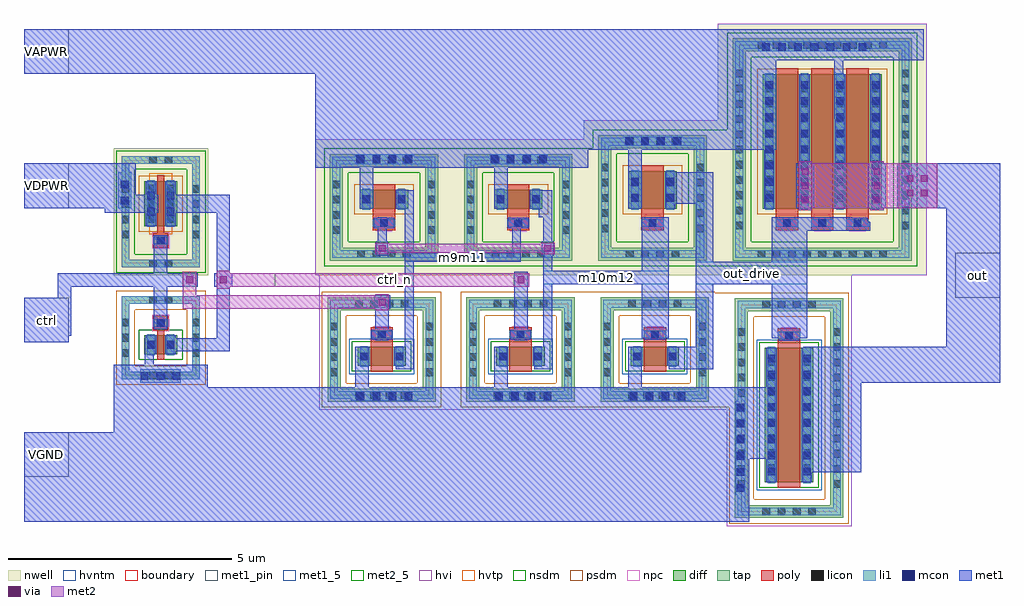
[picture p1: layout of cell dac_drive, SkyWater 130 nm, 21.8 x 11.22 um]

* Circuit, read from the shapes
.subckt dac_drive VAPWR VDPWR VGND ctrl ctrl_n m10m12 m9m11 out out_drive
XM1 ctrl_n ctrl VGND VGND sky130_fd_pr__nfet_01v8 w=0.42 l=0.15
XM2 m9m11 ctrl VGND VGND sky130_fd_pr__nfet_g5v0d10v5 w=0.42 l=0.5
XM3 m10m12 ctrl_n VGND VGND sky130_fd_pr__nfet_g5v0d10v5 w=0.42 l=0.5
XM4 out_drive m10m12 VGND VGND sky130_fd_pr__nfet_g5v0d10v5 w=0.42 l=0.5
XM5 out out_drive VGND VGND sky130_fd_pr__nfet_g5v0d10v5 w=3 l=0.5
XM6 ctrl_n ctrl VDPWR VDPWR sky130_fd_pr__pfet_01v8_hvt w=1 l=0.15
XM7 m9m11 m10m12 VAPWR VAPWR sky130_fd_pr__pfet_g5v0d10v5 w=0.42 l=0.5
XM8 m10m12 m9m11 VAPWR VAPWR sky130_fd_pr__pfet_g5v0d10v5 w=0.42 l=0.5
XM9 out_drive m10m12 VAPWR VAPWR sky130_fd_pr__pfet_g5v0d10v5 w=0.84 l=0.5
XM10 out out_drive VAPWR VAPWR sky130_fd_pr__pfet_g5v0d10v5 w=3 l=0.5 m=3
.ends

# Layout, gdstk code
from math import pi, radians
import gdstk
lib = gdstk.Library(unit=1e-6, precision=1e-09)
def R(c, l, rs):  # rectangles x0, y0, x1, y1
    for r in rs: c.add(gdstk.rectangle(r[:2], r[2:], *l))
def A(c, l, x, y, w, h, nx, ny, dx, dy):  # array of equal rectangles
    R(c, l, [(x+i*dx, y+j*dy, x+i*dx+w, y+j*dy+h) for i in range(nx) for j in range(ny)])
nwell = (64, 20)
diff = (65, 20)
tap = (65, 44)
poly = (66, 20)
licon = (66, 44)
li1 = (67, 20)
mcon = (67, 44)
met1_5 = (68, 5)
met1_pin = (68, 16)
met1 = (68, 20)
via = (68, 44)
met2_5 = (69, 5)
met2 = (69, 20)
hvi = (75, 20)
hvtp = (78, 44)
nsdm = (93, 44)
psdm = (94, 20)
npc = (95, 20)
hvntm = (125, 20)
boundary = (235, 4)

sky130_fd_pr__pfet_g5v0d = lib.new_cell('sky130_fd_pr__pfet_g5v0d10v5_ZHZHT3')
R(sky130_fd_pr__pfet_g5v0d, nwell, [(-1.54,-1.52,1.54,1.52)])
R(sky130_fd_pr__pfet_g5v0d, diff, [(-0.54,-0.39,0.54,0.03)])
R(sky130_fd_pr__pfet_g5v0d, tap, [(-1.21,-1.19,1.21,-0.9), (-1.21,-0.9,-0.92,0.9), (0.92,-0.9,1.21,0.9), (-1.21,0.9,1.21,1.19)])
R(sky130_fd_pr__pfet_g5v0d, poly, [(-0.25,-0.52,0.25,0.515)])
A(sky130_fd_pr__pfet_g5v0d, licon, -0.595, -1.13, 0.17, 0.17, 4, 2, 0.34, 2.09)
A(sky130_fd_pr__pfet_g5v0d, licon, -1.15, -0.595, 0.17, 0.17, 1, 4, 0, 0.34)
A(sky130_fd_pr__pfet_g5v0d, licon, 0.98, -0.595, 0.17, 0.17, 1, 4, 0, 0.34)
R(sky130_fd_pr__pfet_g5v0d, licon, [(-0.48,-0.265,-0.31,-0.095), (0.31,-0.265,0.48,-0.095), (-0.085,0.265,0.085,0.435)])
R(sky130_fd_pr__pfet_g5v0d, li1, [(-1.15,-1.13,1.15,-0.96), (-1.15,-0.96,-0.98,0.96), (0.98,-0.96,1.15,0.96), (-0.48,-0.41,-0.31,0.05), (0.31,-0.41,0.48,0.05), (-0.25,0.265,0.25,0.435), (-1.15,0.96,1.15,1.13)])
R(sky130_fd_pr__pfet_g5v0d, mcon, [(-0.48,-0.265,-0.31,-0.095), (0.31,-0.265,0.48,-0.095), (-0.085,0.265,0.085,0.435)])
R(sky130_fd_pr__pfet_g5v0d, met1, [(-0.51,-0.39,-0.28,0.03), (0.28,-0.39,0.51,0.03), (-0.23,0.235,0.23,0.465)])
R(sky130_fd_pr__pfet_g5v0d, hvi, [(-1.54,-1.52,1.54,1.52)])
R(sky130_fd_pr__pfet_g5v0d, nsdm, [(-1.335,-1.315,1.335,-0.775), (-1.335,-0.775,-0.795,0.775), (0.795,-0.775,1.335,0.775), (-1.335,0.775,1.335,1.315)])
R(sky130_fd_pr__pfet_g5v0d, psdm, [(-0.665,-0.515,0.665,0.155)])
R(sky130_fd_pr__pfet_g5v0d, npc, [(-0.185,0.165,0.185,0.535)])
R(sky130_fd_pr__pfet_g5v0d, boundary, [(-1.065,-1.045,1.065,1.045)])

sky130_fd_pr__nfet_g5v0d = lib.new_cell('sky130_fd_pr__nfet_g5v0d10v5_ZFATWT')
R(sky130_fd_pr__nfet_g5v0d, diff, [(-0.54,-0.365,0.54,0.055)])
R(sky130_fd_pr__nfet_g5v0d, tap, [(-1.21,-1.165,1.21,-0.875), (-1.21,-0.875,-0.92,0.875), (0.92,-0.875,1.21,0.875), (-1.21,0.875,1.21,1.165)])
R(sky130_fd_pr__nfet_g5v0d, poly, [(-0.25,-0.495,0.25,0.495)])
A(sky130_fd_pr__nfet_g5v0d, licon, -0.595, -1.105, 0.17, 0.17, 4, 2, 0.34, 2.04)
A(sky130_fd_pr__nfet_g5v0d, licon, -1.15, -0.595, 0.17, 0.17, 1, 4, 0, 0.34)
A(sky130_fd_pr__nfet_g5v0d, licon, 0.98, -0.595, 0.17, 0.17, 1, 4, 0, 0.34)
R(sky130_fd_pr__nfet_g5v0d, licon, [(-0.48,-0.24,-0.31,-0.07), (0.31,-0.24,0.48,-0.07), (-0.085,0.245,0.085,0.415)])
R(sky130_fd_pr__nfet_g5v0d, li1, [(-1.15,-1.105,1.15,-0.935), (-1.15,-0.935,-0.98,0.935), (0.98,-0.935,1.15,0.935), (-0.48,-0.385,-0.31,0.075), (0.31,-0.385,0.48,0.075), (-0.25,0.245,0.25,0.415), (-1.15,0.935,1.15,1.105)])
R(sky130_fd_pr__nfet_g5v0d, mcon, [(-0.48,-0.24,-0.31,-0.07), (0.31,-0.24,0.48,-0.07), (-0.085,0.245,0.085,0.415)])
R(sky130_fd_pr__nfet_g5v0d, met1, [(-0.51,-0.365,-0.28,0.055), (0.28,-0.365,0.51,0.055), (-0.23,0.215,0.23,0.445)])
R(sky130_fd_pr__nfet_g5v0d, hvi, [(-1.395,-1.35,1.395,1.35)])
R(sky130_fd_pr__nfet_g5v0d, nsdm, [(-0.665,-0.49,0.665,0.18)])
R(sky130_fd_pr__nfet_g5v0d, psdm, [(-1.335,-1.29,1.335,-0.75), (-1.335,-0.75,-0.795,0.75), (0.795,-0.75,1.335,0.75), (-1.335,0.75,1.335,1.29)])
R(sky130_fd_pr__nfet_g5v0d, npc, [(-0.185,0.145,0.185,0.515)])
R(sky130_fd_pr__nfet_g5v0d, hvntm, [(-0.725,-0.55,0.725,0.24)])
R(sky130_fd_pr__nfet_g5v0d, boundary, [(-1.065,-1.02,1.065,1.02)])

sky130_fd_pr__pfet_01v8_ = lib.new_cell('sky130_fd_pr__pfet_01v8_hvt_MGS3BN')
R(sky130_fd_pr__pfet_01v8_, nwell, [(-1.055,-1.42,1.055,1.42)])
R(sky130_fd_pr__pfet_01v8_, diff, [(-0.365,-0.68,0.365,0.32)])
R(sky130_fd_pr__pfet_01v8_, tap, [(-0.875,-1.24,0.875,-1.07), (-0.875,-1.07,-0.705,1.07), (0.705,-1.07,0.875,1.07), (-0.875,1.07,0.875,1.24)])
R(sky130_fd_pr__pfet_01v8_, poly, [(-0.075,-0.81,0.075,0.475), (-0.165,0.475,0.165,0.805)])
A(sky130_fd_pr__pfet_01v8_, licon, -0.305, -0.605, 0.17, 0.17, 1, 3, 0, 0.34)
A(sky130_fd_pr__pfet_01v8_, licon, 0.135, -0.605, 0.17, 0.17, 1, 3, 0, 0.34)
A(sky130_fd_pr__pfet_01v8_, licon, -0.875, -0.595, 0.17, 0.17, 1, 4, 0, 0.34)
A(sky130_fd_pr__pfet_01v8_, licon, 0.705, -0.595, 0.17, 0.17, 1, 4, 0, 0.34)
R(sky130_fd_pr__pfet_01v8_, licon, [(-0.255,-1.24,-0.085,-1.07), (0.085,-1.24,0.255,-1.07), (-0.085,0.555,0.085,0.725), (-0.255,1.07,-0.085,1.24), (0.085,1.07,0.255,1.24)])
R(sky130_fd_pr__pfet_01v8_, li1, [(-0.875,-1.24,0.875,-1.07), (-0.875,-1.07,-0.705,1.07), (0.705,-1.07,0.875,1.07), (-0.305,-0.7,-0.135,0.34), (0.135,-0.7,0.305,0.34), (-0.165,0.555,0.165,0.725), (-0.875,1.07,0.875,1.24)])
R(sky130_fd_pr__pfet_01v8_, mcon, [(-0.305,-0.445,-0.135,-0.275), (0.135,-0.445,0.305,-0.275), (-0.305,-0.085,-0.135,0.085), (0.135,-0.085,0.305,0.085), (-0.085,0.555,0.085,0.725)])
R(sky130_fd_pr__pfet_01v8_, met1, [(-0.335,-0.68,-0.105,0.32), (0.105,-0.68,0.335,0.32), (-0.145,0.525,0.145,0.755)])
R(sky130_fd_pr__pfet_01v8_, hvtp, [(-0.255,-0.86,0.255,0.5)])
R(sky130_fd_pr__pfet_01v8_, nsdm, [(-1,-1.365,1,-0.945), (-1,-0.945,-0.58,0.945), (0.58,-0.945,1,0.945), (-1,0.945,1,1.365)])
R(sky130_fd_pr__pfet_01v8_, psdm, [(-0.49,-0.805,0.49,0.445)])
R(sky130_fd_pr__pfet_01v8_, npc, [(-0.185,0.455,0.185,0.825)])
R(sky130_fd_pr__pfet_01v8_, boundary, [(-0.79,-1.155,0.79,1.155)])

sky130_fd_pr__nfet_01v8_ = lib.new_cell('sky130_fd_pr__nfet_01v8_L78EGD')
R(sky130_fd_pr__nfet_01v8_, diff, [(-0.365,-0.365,0.365,0.055)])
R(sky130_fd_pr__nfet_01v8_, tap, [(-0.875,-0.925,0.875,-0.755), (-0.875,-0.755,-0.705,0.755), (0.705,-0.755,0.875,0.755), (-0.875,0.755,0.875,0.925)])
R(sky130_fd_pr__nfet_01v8_, poly, [(-0.075,-0.495,0.075,0.165), (-0.165,0.165,0.165,0.495)])
A(sky130_fd_pr__nfet_01v8_, licon, -0.875, -0.425, 0.17, 0.17, 1, 3, 0, 0.34)
A(sky130_fd_pr__nfet_01v8_, licon, 0.705, -0.425, 0.17, 0.17, 1, 3, 0, 0.34)
R(sky130_fd_pr__nfet_01v8_, licon, [(-0.255,-0.925,-0.085,-0.755), (0.085,-0.925,0.255,-0.755), (-0.305,-0.24,-0.135,-0.07), (0.135,-0.24,0.305,-0.07), (-0.085,0.245,0.085,0.415), (-0.255,0.755,-0.085,0.925), (0.085,0.755,0.255,0.925)])
R(sky130_fd_pr__nfet_01v8_, li1, [(-0.875,-0.925,0.875,-0.755), (-0.875,-0.755,-0.705,0.755), (0.705,-0.755,0.875,0.755), (-0.305,-0.385,-0.135,0.075), (0.135,-0.385,0.305,0.075), (-0.165,0.245,0.165,0.415), (-0.875,0.755,0.875,0.925)])
R(sky130_fd_pr__nfet_01v8_, mcon, [(-0.305,-0.24,-0.135,-0.07), (0.135,-0.24,0.305,-0.07), (-0.085,0.245,0.085,0.415)])
R(sky130_fd_pr__nfet_01v8_, met1, [(-0.335,-0.365,-0.105,0.055), (0.105,-0.365,0.335,0.055), (-0.145,0.215,0.145,0.445)])
R(sky130_fd_pr__nfet_01v8_, nsdm, [(-0.49,-0.49,0.49,0.18)])
R(sky130_fd_pr__nfet_01v8_, psdm, [(-1,-1.05,1,-0.63), (-1,-0.63,-0.58,0.63), (0.58,-0.63,1,0.63), (-1,0.63,1,1.05)])
R(sky130_fd_pr__nfet_01v8_, npc, [(-0.185,0.145,0.185,0.515)])
R(sky130_fd_pr__nfet_01v8_, boundary, [(-0.79,-0.84,0.79,0.84)])

c_sky130_fd_pr__nfet_g5v0d = lib.new_cell('sky130_fd_pr__nfet_g5v0d10v5_42U4UV')
R(c_sky130_fd_pr__nfet_g5v0d, diff, [(-0.54,-1.655,0.54,1.345)])
R(c_sky130_fd_pr__nfet_g5v0d, tap, [(-1.21,-2.455,1.21,-2.165), (-1.21,-2.165,-0.92,2.165), (0.92,-2.165,1.21,2.165), (-1.21,2.165,1.21,2.455)])
R(c_sky130_fd_pr__nfet_g5v0d, poly, [(-0.25,-1.785,0.25,1.785)])
A(c_sky130_fd_pr__nfet_g5v0d, licon, -0.595, -2.395, 0.17, 0.17, 4, 2, 0.34, 4.62)
A(c_sky130_fd_pr__nfet_g5v0d, licon, -1.15, -1.785, 0.17, 0.17, 1, 11, 0, 0.34)
A(c_sky130_fd_pr__nfet_g5v0d, licon, 0.98, -1.785, 0.17, 0.17, 1, 11, 0, 0.34)
A(c_sky130_fd_pr__nfet_g5v0d, licon, -0.48, -1.43, 0.17, 0.17, 1, 8, 0, 0.34)
A(c_sky130_fd_pr__nfet_g5v0d, licon, 0.31, -1.43, 0.17, 0.17, 1, 8, 0, 0.34)
R(c_sky130_fd_pr__nfet_g5v0d, licon, [(-0.085,1.535,0.085,1.705)])
R(c_sky130_fd_pr__nfet_g5v0d, li1, [(-1.15,-2.395,1.15,-2.225), (-1.15,-2.225,-0.98,2.225), (0.98,-2.225,1.15,2.225), (-0.48,-1.675,-0.31,1.365), (0.31,-1.675,0.48,1.365), (-0.25,1.535,0.25,1.705), (-1.15,2.225,1.15,2.395)])
A(c_sky130_fd_pr__nfet_g5v0d, mcon, -0.48, -1.5, 0.17, 0.17, 1, 8, 0, 0.36)
A(c_sky130_fd_pr__nfet_g5v0d, mcon, 0.31, -1.5, 0.17, 0.17, 1, 8, 0, 0.36)
R(c_sky130_fd_pr__nfet_g5v0d, mcon, [(-0.085,1.535,0.085,1.705)])
R(c_sky130_fd_pr__nfet_g5v0d, met1, [(-0.51,-1.655,-0.28,1.345), (0.28,-1.655,0.51,1.345), (-0.23,1.505,0.23,1.735)])
R(c_sky130_fd_pr__nfet_g5v0d, hvi, [(-1.395,-2.64,1.395,2.64)])
R(c_sky130_fd_pr__nfet_g5v0d, nsdm, [(-0.665,-1.78,0.665,1.47)])
R(c_sky130_fd_pr__nfet_g5v0d, psdm, [(-1.335,-2.58,1.335,-2.04), (-1.335,-2.04,-0.795,2.04), (0.795,-2.04,1.335,2.04), (-1.335,2.04,1.335,2.58)])
R(c_sky130_fd_pr__nfet_g5v0d, npc, [(-0.185,1.435,0.185,1.805)])
R(c_sky130_fd_pr__nfet_g5v0d, hvntm, [(-0.725,-1.84,0.725,1.53)])
R(c_sky130_fd_pr__nfet_g5v0d, boundary, [(-1.065,-2.31,1.065,2.31)])

c_sky130_fd_pr__pfet_g5v0d = lib.new_cell('sky130_fd_pr__pfet_g5v0d10v5_RW5GT3')
R(c_sky130_fd_pr__pfet_g5v0d, nwell, [(-1.54,-1.73,1.54,1.73)])
R(c_sky130_fd_pr__pfet_g5v0d, diff, [(-0.54,-0.6,0.54,0.24)])
R(c_sky130_fd_pr__pfet_g5v0d, tap, [(-1.21,-1.4,1.21,-1.11), (-1.21,-1.11,-0.92,1.11), (0.92,-1.11,1.21,1.11), (-1.21,1.11,1.21,1.4)])
R(c_sky130_fd_pr__pfet_g5v0d, poly, [(-0.25,-0.73,0.25,0.725)])
A(c_sky130_fd_pr__pfet_g5v0d, licon, -0.595, -1.34, 0.17, 0.17, 4, 2, 0.34, 2.51)
A(c_sky130_fd_pr__pfet_g5v0d, licon, -1.15, -0.765, 0.17, 0.17, 1, 5, 0, 0.34)
A(c_sky130_fd_pr__pfet_g5v0d, licon, 0.98, -0.765, 0.17, 0.17, 1, 5, 0, 0.34)
R(c_sky130_fd_pr__pfet_g5v0d, licon, [(-0.48,-0.435,-0.31,-0.265), (0.31,-0.435,0.48,-0.265), (-0.48,-0.095,-0.31,0.075), (0.31,-0.095,0.48,0.075), (-0.085,0.475,0.085,0.645)])
R(c_sky130_fd_pr__pfet_g5v0d, li1, [(-1.15,-1.34,1.15,-1.17), (-1.15,-1.17,-0.98,1.17), (0.98,-1.17,1.15,1.17), (-0.48,-0.62,-0.31,0.26), (0.31,-0.62,0.48,0.26), (-0.25,0.475,0.25,0.645), (-1.15,1.17,1.15,1.34)])
R(c_sky130_fd_pr__pfet_g5v0d, mcon, [(-0.48,-0.445,-0.31,-0.275), (0.31,-0.445,0.48,-0.275), (-0.48,-0.085,-0.31,0.085), (0.31,-0.085,0.48,0.085), (-0.085,0.475,0.085,0.645)])
R(c_sky130_fd_pr__pfet_g5v0d, met1, [(-0.51,-0.6,-0.28,0.24), (0.28,-0.6,0.51,0.24), (-0.23,0.445,0.23,0.675)])
R(c_sky130_fd_pr__pfet_g5v0d, hvi, [(-1.54,-1.73,1.54,1.73)])
R(c_sky130_fd_pr__pfet_g5v0d, nsdm, [(-1.335,-1.525,1.335,-0.985), (-1.335,-0.985,-0.795,0.985), (0.795,-0.985,1.335,0.985), (-1.335,0.985,1.335,1.525)])
R(c_sky130_fd_pr__pfet_g5v0d, psdm, [(-0.665,-0.725,0.665,0.365)])
R(c_sky130_fd_pr__pfet_g5v0d, npc, [(-0.185,0.375,0.185,0.745)])
R(c_sky130_fd_pr__pfet_g5v0d, boundary, [(-1.065,-1.255,1.065,1.255)])

c_sky130_fd_pr__pfet_g5v0d_ = lib.new_cell('sky130_fd_pr__pfet_g5v0d10v5_77L6Y8')
R(c_sky130_fd_pr__pfet_g5v0d_, nwell, [(-2.33,-2.81,2.33,2.81)])
R(c_sky130_fd_pr__pfet_g5v0d_, diff, [(-1.33,-1.68,1.33,1.32)])
R(c_sky130_fd_pr__pfet_g5v0d_, tap, [(-2,-2.48,2,-2.19), (-2,-2.19,-1.71,2.19), (1.71,-2.19,2,2.19), (-2,2.19,2,2.48)])
A(c_sky130_fd_pr__pfet_g5v0d_, poly, -1.04, -1.81, 0.5, 3.615, 3, 1, 0.79, 0)
A(c_sky130_fd_pr__pfet_g5v0d_, licon, -1.445, -2.42, 0.17, 0.17, 9, 2, 0.34, 4.67)
A(c_sky130_fd_pr__pfet_g5v0d_, licon, -1.94, -1.785, 0.17, 0.17, 1, 11, 0, 0.34)
A(c_sky130_fd_pr__pfet_g5v0d_, licon, 1.77, -1.785, 0.17, 0.17, 1, 11, 0, 0.34)
A(c_sky130_fd_pr__pfet_g5v0d_, licon, -1.27, -1.455, 0.17, 0.17, 4, 8, 0.79, 0.34)
A(c_sky130_fd_pr__pfet_g5v0d_, licon, -0.875, 1.555, 0.17, 0.17, 3, 1, 0.79, 0)
A(c_sky130_fd_pr__pfet_g5v0d_, li1, -1.27, -1.7, 0.17, 3.04, 4, 1, 0.79, 0)
A(c_sky130_fd_pr__pfet_g5v0d_, li1, -1.04, 1.555, 0.5, 0.17, 3, 1, 0.79, 0)
R(c_sky130_fd_pr__pfet_g5v0d_, li1, [(-1.94,-2.42,1.94,-2.25), (-1.94,-2.25,-1.77,2.25), (1.77,-2.25,1.94,2.25), (-1.94,2.25,1.94,2.42)])
A(c_sky130_fd_pr__pfet_g5v0d_, mcon, -1.27, -1.525, 0.17, 0.17, 4, 8, 0.79, 0.36)
A(c_sky130_fd_pr__pfet_g5v0d_, mcon, -0.875, 1.555, 0.17, 0.17, 3, 1, 0.79, 0)
A(c_sky130_fd_pr__pfet_g5v0d_, met1, -1.3, -1.68, 0.23, 3, 4, 1, 0.79, 0)
A(c_sky130_fd_pr__pfet_g5v0d_, met1, -1.02, 1.525, 0.46, 0.23, 3, 1, 0.79, 0)
R(c_sky130_fd_pr__pfet_g5v0d_, hvi, [(-2.33,-2.81,2.33,2.81)])
R(c_sky130_fd_pr__pfet_g5v0d_, nsdm, [(-2.125,-2.605,2.125,-2.065), (-2.125,-2.065,-1.585,2.065), (1.585,-2.065,2.125,2.065), (-2.125,2.065,2.125,2.605)])
R(c_sky130_fd_pr__pfet_g5v0d_, psdm, [(-1.455,-1.805,1.455,1.445)])
A(c_sky130_fd_pr__pfet_g5v0d_, npc, -0.975, 1.455, 0.37, 0.37, 3, 1, 0.79, 0)
R(c_sky130_fd_pr__pfet_g5v0d_, boundary, [(-1.855,-2.335,1.855,2.335)])

dac_drive = lib.new_cell('dac_drive')
R(dac_drive, li1, [(0.9,-3.9,1.1,-1.8), (-7.7,-1.8,-6.2,-1.6), (-4.6,-1.8,-3.1,-1.6), (-1.6,-1.8,-0.1,-1.6), (-12.4,-1.4,-11.5,-1.1), (-12.9,2.5,-12.6,3.3), (-7.6,3.5,-6.3,3.7), (-4.6,3.5,-3.3,3.7), (-1.6,3.9,-0.3,4.1), (1.4,6,3.9,6.2)])
A(dac_drive, mcon, 0.915, -3.835, 0.17, 0.17, 1, 6, 0, 0.36)
A(dac_drive, mcon, -7.575, -1.785, 0.17, 0.17, 4, 2, 0.36, 5.3)
A(dac_drive, mcon, -4.475, -1.785, 0.17, 0.17, 4, 1, 0.36, 0)
A(dac_drive, mcon, -1.475, -1.785, 0.17, 0.17, 4, 1, 0.36, 0)
A(dac_drive, mcon, -12.395, -1.335, 0.17, 0.17, 3, 1, 0.36, 0)
A(dac_drive, mcon, -4.575, 3.515, 0.17, 0.17, 4, 1, 0.36, 0)
A(dac_drive, mcon, -1.575, 3.915, 0.17, 0.17, 4, 1, 0.36, 0)
A(dac_drive, mcon, 1.485, 6.015, 0.17, 0.17, 7, 1, 0.36, 0)
R(dac_drive, mcon, [(-12.835,2.585,-12.665,2.755), (-12.835,2.945,-12.665,3.115)])
R(dac_drive, met1_5, [(-3.4,0.8,-0.6,1.1), (0,0.8,2.5,1.3), (-6.5,1.3,-3.9,1.5)])
A(dac_drive, met1_pin, -15, -3.5, 1, 1, 1, 4, 0, 3)
R(dac_drive, met1_pin, [(5.8,0.5,6.8,1.5)])
R(dac_drive, met1, [(-15,-4.5,1.2,-3.1), (2.4,-3.4,3.7,-1.4), (-15,-3.1,1.8,-2.5), (-13,-2.5,1.8,-1.5), (-13,-1.5,-10.9,-1), (-7.6,-1.5,-7.3,-0.6), (-4.5,-1.5,-4.2,-0.6), (-1.5,-1.5,-1.2,-0.6), (2.4,-1.4,6.8,-0.6), (-6.7,-1.1,-6.3,-0.6), (-3.6,-1.1,-3.2,-0.6), (-0.6,-1.1,0.4,-0.6), (-12.3,-1,-12.1,-0.4), (-11.8,-0.7,-10.4,-0.4), (-6.5,-0.6,-6.3,1.3), (-3.4,-0.6,-3.2,0.8), (0,-0.6,0.4,0.8), (5.6,-0.6,6.8,2.5), (-15,-0.5,-14,-0.35), (-7.15,-0.45,-6.85,0.25), (-4.05,-0.45,-3.75,1.08), (-10.7,-0.4,-10.4,0.75), (-1.2,-0.4,-0.6,0.8), (1.7,-0.4,2.5,0.8), (-15,-0.35,-13.95,0.5), (-12.1,-0.2,-11.8,0.75), (-7.18,0.25,-6.82,0.55), (-14.25,0.5,-13.95,0.75), (-14.25,0.75,-11.12,1.05), (-10.75,0.75,-10.35,1.05), (-3.4,0.8,-0.6,1.1), (0,0.8,2.5,1.3), (-12.1,1.05,-11.8,1.9), (-10.7,1.05,-10.4,2.4), (-3.4,1.1,-3.2,1.44), (-1.2,1.1,-0.6,2.3), (-6.5,1.3,-3.9,1.5), (0,1.3,0.4,2.6), (1.7,1.3,2.5,2), (-7.13,1.44,-6.87,1.76), (-3.43,1.44,-3.17,1.76), (-6.5,1.5,-6.3,2.5), (-4.1,1.5,-3.9,2.2), (-7.1,1.76,-6.9,2.3), (-3.4,1.76,-3.2,2.3), (1.7,2,3.9,2.2), (1.7,2.2,3.5,2.3), (-3.5,2.3,-3.2,2.5), (-13.2,2.4,-12,2.5), (-11.8,2.4,-10.4,2.8), (-15,2.5,-12,2.8), (-7.5,2.5,-7.2,3.4), (-6.7,2.5,-6.3,2.9), (-4.5,2.5,-4.2,3.4), (-3.7,2.5,-3.2,2.9), (-1.5,2.5,-1.2,3.8), (2.25,2.5,2.65,3.5), (3.85,2.5,4.25,3.5), (4.5,2.5,6.8,3.5), (-0.6,2.6,0.4,3.3), (-15,2.8,-12.5,3.5), (-8.5,3.4,-2.4,3.8), (-8.5,3.8,1.8,5.5), (3.1,4.5,3.3,5.8), (-15,5.5,1.8,5.8), (-15,5.8,5.1,6.5)])
A(dac_drive, via, 2.375, 2.605, 0.15, 0.15, 1, 3, 0, 0.32)
A(dac_drive, via, 3.975, 2.605, 0.15, 0.15, 1, 3, 0, 0.32)
R(dac_drive, via, [(-7.075,0.325,-6.925,0.475), (-11.375,0.825,-11.225,0.975), (-10.625,0.825,-10.475,0.975), (-3.975,0.825,-3.825,0.975), (-7.075,1.525,-6.925,1.675), (-3.375,1.525,-3.225,1.675), (4.715,2.765,4.865,2.915), (5.035,2.765,5.185,2.915), (4.715,3.085,4.865,3.235), (5.035,3.085,5.185,3.235)])
R(dac_drive, met2_5, [(-9.4,0.75,-4.05,1.05)])
R(dac_drive, met2, [(-7.15,0.22,-6.85,0.25), (-11.45,0.25,-6.85,0.55), (-11.45,0.55,-11.15,1.08), (-7.15,0.55,-6.85,0.58), (-10.7,0.7,-10.4,0.75), (-10.7,0.75,-3.72,1.05), (-10.7,1.05,-10.4,1.1), (-7.16,1.47,-6.84,1.5), (-3.46,1.47,-3.14,1.5), (-7.16,1.5,-3.14,1.7), (-7.16,1.7,-6.84,1.73), (-3.46,1.7,-3.14,1.73), (2.3,2.45,2.6,2.5), (3.9,2.45,4.2,2.5), (2.3,2.5,5.4,3.5), (2.3,3.5,2.6,3.55), (3.9,3.5,4.2,3.55)])
R(dac_drive, hvi, [(-5.615,-2.005,-5.305,0.695), (-2.515,-2.005,-2.305,0.695), (0.485,-2.005,0.695,0.675), (0.485,0.675,3.485,0.695), (-8.405,0.695,3.485,1)])
R(dac_drive, nsdm, [(-5.625,1.205,-5.295,3.835), (-2.625,1.205,-2.295,3.835), (0.375,1.205,0.705,4.255)])
R(dac_drive, psdm, [(-2.575,-1.945,-2.245,0.635), (0.425,-1.945,0.755,0.615)])
dac_drive.add(gdstk.Reference(sky130_fd_pr__pfet_g5v0d, (-3.96,2.52), x_reflection=True))
dac_drive.add(gdstk.Reference(sky130_fd_pr__pfet_g5v0d, (-6.96,2.52), x_reflection=True))
dac_drive.add(gdstk.Reference(sky130_fd_pr__nfet_g5v0d, (-3.91,-0.655)))
dac_drive.add(gdstk.Reference(sky130_fd_pr__nfet_g5v0d, (-7.01,-0.655)))
dac_drive.add(gdstk.Reference(sky130_fd_pr__pfet_01v8_, (-11.945,2.42), x_reflection=True))
dac_drive.add(gdstk.Reference(sky130_fd_pr__nfet_01v8_, (-11.945,-0.395)))
dac_drive.add(gdstk.Reference(c_sky130_fd_pr__nfet_g5v0d, (2.09,-1.965)))
dac_drive.add(gdstk.Reference(sky130_fd_pr__nfet_g5v0d, (-0.91,-0.655), rotation=pi, x_reflection=True))
dac_drive.add(gdstk.Reference(c_sky130_fd_pr__pfet_g5v0d, (-0.96,2.73), x_reflection=True))
dac_drive.add(gdstk.Reference(c_sky130_fd_pr__pfet_g5v0d_, (2.83,3.81), x_reflection=True))
dac_drive.add(gdstk.Label('m10m12', (-2,0.95), layer=68, texttype=5))
dac_drive.add(gdstk.Label('m9m11', (-5.2,1.4), layer=68, texttype=5))
dac_drive.add(gdstk.Label('out_drive', (1.25,1.05), layer=68, texttype=5))
dac_drive.add(gdstk.Label('VAPWR', (-14.5,6), layer=68, texttype=5))
dac_drive.add(gdstk.Label('VDPWR', (-14.5,3), layer=68, texttype=5))
dac_drive.add(gdstk.Label('ctrl', (-14.5,0), layer=68, texttype=5))
dac_drive.add(gdstk.Label('out', (6.3,1), layer=68, texttype=5))
dac_drive.add(gdstk.Label('VGND', (-14.5,-3), layer=68, texttype=5))
dac_drive.add(gdstk.Label('ctrl_n', (-6.725,0.9), layer=69, texttype=5))

lib.write_gds('dac_drive.gds')
